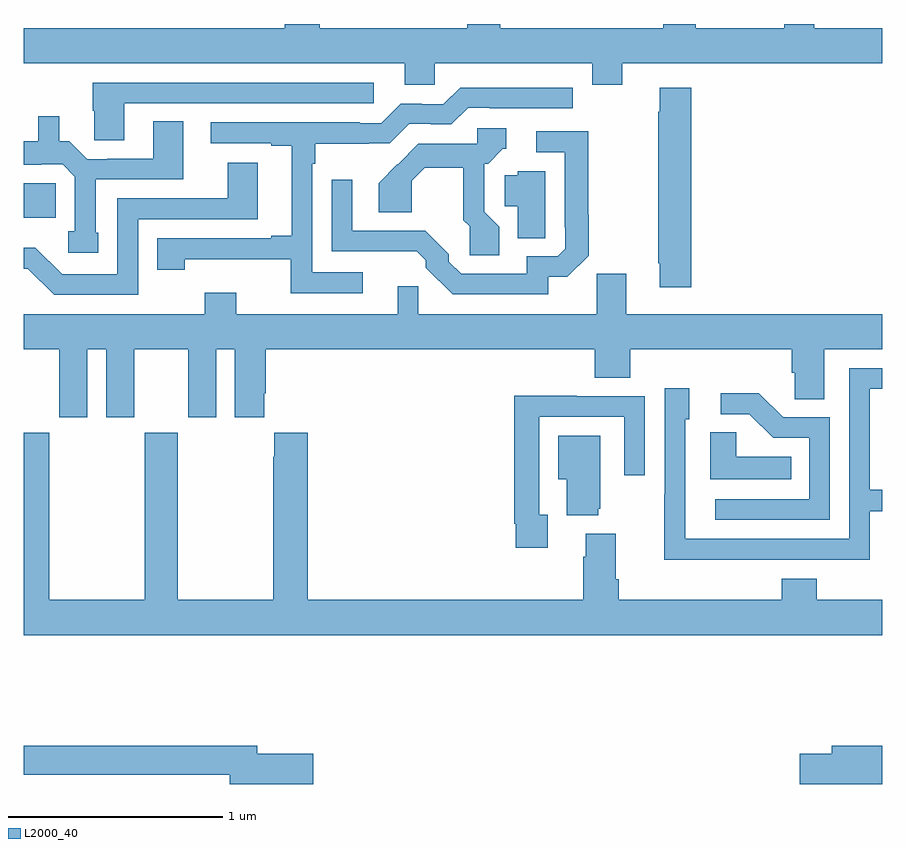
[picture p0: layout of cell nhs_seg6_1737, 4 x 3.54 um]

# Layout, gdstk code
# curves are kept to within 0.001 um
import gdstk
lib = gdstk.Library(unit=1e-6, precision=1e-09)
def P(c, l, *ps):  # polygons
    for p in ps: c.add(gdstk.Polygon(p, *l))
L2000_40 = (2000, 40)

nhs_seg6_1737 = lib.new_cell('nhs_seg6_1737')
P(nhs_seg6_1737, L2000_40, [(217.789,967.316),(219,967.316),(219,967.48),(218.683,967.48),(218.683,967.5),(218.543,967.5),(218.543,967.48),(218.131,967.48),(218.131,967.5),(217.979,967.5),(217.979,967.48),(217.22,967.48),(217.22,967.5),(217.067,967.5),(217.067,967.48),(216.38,967.48),(216.38,967.5),(216.215,967.5),(216.215,967.48),(215,967.48),(215,967.316),(216.776,967.316),(216.776,967.218),(216.915,967.218),(216.915,967.316),(217.649,967.316),(217.649,967.217),(217.789,967.217)],
  [(215.467,967.131),(216.631,967.131),(216.631,967.227),(215.32,967.227),(215.32,967.095),(215.329,967.095),(215.329,966.958),(215.467,966.958)],
  [(218.111,967.204),(217.964,967.204),(217.964,967.091),(217.957,967.091),(217.957,966.385),(217.964,966.385),(217.964,966.273),(218.111,966.273)],
  [(216.58,966.342),(216.345,966.342),(216.345,966.848),(216.358,966.848),(216.358,966.942),(216.608,966.942),(216.608,966.945),(216.705,966.945),(216.795,967.035),(216.896,967.035),(216.896,967.032),(216.993,967.032),(217.071,967.11),(217.171,967.11),(217.171,967.107),(217.558,967.107),(217.558,967.203),(217.033,967.204),(216.954,967.125),(216.854,967.125),(216.854,967.128),(216.756,967.128),(216.666,967.038),(216.566,967.038),(216.566,967.041),(215.871,967.041),(215.871,966.945),(216.152,966.945),(216.152,966.933),(216.248,966.933),(216.248,966.514),(216.152,966.514),(216.152,966.501),(215.622,966.501),(215.622,966.354),(215.75,966.354),(215.75,966.404),(216.244,966.404),(216.244,966.246),(216.58,966.246)],
  [(215.347,966.528),(215.334,966.528),(215.334,966.777),(215.743,966.777),(215.743,967.046),(215.603,967.046),(215.603,966.873),(215.389,966.873),(215.389,966.87),(215.295,966.87),(215.211,966.954),(215.164,966.954),(215.164,967.069),(215.066,967.069),(215.066,966.954),(215,966.954),(215,966.843),(215.081,966.843),(215.081,966.846),(215.181,966.846),(215.238,966.789),(215.238,966.534),(215.208,966.534),(215.208,966.435),(215.347,966.435)],
  [(217.216,966.554),(217.146,966.624),(217.146,966.849),(217.164,966.849),(217.233,966.918),(217.249,966.918),(217.249,967.014),(217.113,967.014),(217.113,966.942),(216.839,966.942),(216.742,966.845),(216.741,966.846),(216.654,966.758),(216.654,966.622),(216.808,966.622),(216.808,966.77),(216.869,966.831),(217.048,966.831),(217.048,966.586),(217.077,966.557),(217.077,966.423),(217.216,966.423)],
  [(217.443,966.321),(217.532,966.321),(217.632,966.42),(217.632,966.611),(217.63,966.611),(217.63,966.999),(217.389,966.999),(217.389,966.903),(217.521,966.903),(217.521,966.553),(217.524,966.553),(217.524,966.453),(217.488,966.417),(217.344,966.417),(217.344,966.336),(217.038,966.336),(216.981,966.393),(216.981,966.427),(216.871,966.537),(216.531,966.537),(216.531,966.775),(216.435,966.775),(216.435,966.441),(216.832,966.44),(216.873,966.4),(216.873,966.365),(216.998,966.24),(217.443,966.24)],
  [(215.532,966.591),(216.091,966.591),(216.091,966.853),(215.951,966.853),(215.951,966.687),(215.436,966.687),(215.436,966.333),(215.178,966.333),(215.054,966.457),(215,966.457),(215,966.36),(215.019,966.36),(215.142,966.237),(215.532,966.237)],
  [(217.431,966.814),(217.302,966.814),(217.302,966.795),(217.242,966.795),(217.242,966.65),(217.301,966.65),(217.301,966.502),(217.431,966.502)],
  [(215.039,966.597),(215.149,966.597),(215.149,966.758),(215,966.758),(215,966.596),(215.039,966.596)],
  [(215.296,965.984),(215.384,965.984),(215.384,965.667),(215.515,965.667),(215.515,965.984),(215.765,965.984),(215.765,965.667),(215.896,965.667),(215.896,965.984),(215.984,965.984),(215.984,965.667),(216.121,965.667),(216.121,965.779),(216.128,965.779),(216.128,965.984),(217.661,965.984),(217.661,965.851),(217.826,965.851),(217.826,965.984),(218.579,965.984),(218.579,965.875),(218.592,965.875),(218.592,965.752),(218.731,965.752),(218.731,965.984),(219,965.984),(219,966.148),(217.807,966.148),(217.807,966.336),(217.669,966.336),(217.669,966.148),(216.839,966.148),(216.839,966.278),(216.743,966.278),(216.743,966.148),(215.989,966.148),(215.989,966.247),(215.842,966.247),(215.842,966.148),(215,966.148),(215,965.984),(215.165,965.984),(215.165,965.667),(215.296,965.667)],
  [(218.447,965.004),(218.943,965.004),(218.943,965.229),(219,965.229),(219,965.33),(218.943,965.33),(218.943,965.799),(219,965.799),(219,965.895),(218.847,965.895),(218.847,965.1),(218.082,965.1),(218.082,965.658),(218.101,965.658),(218.101,965.803),(217.986,965.803),(217.986,965.309),(217.984,965.309),(217.984,965.003),(218.447,965.003)],
  [(218.757,965.667),(218.538,965.667),(218.425,965.78),(218.247,965.78),(218.247,965.682),(218.381,965.682),(218.492,965.571),(218.661,965.571),(218.661,965.286),(218.223,965.286),(218.223,965.19),(218.757,965.19)],
  [(217.441,965.214),(217.401,965.214),(217.401,965.67),(217.797,965.67),(217.797,965.397),(217.893,965.397),(217.893,965.766),(217.577,965.766),(217.577,965.768),(217.285,965.768),(217.285,965.17),(217.293,965.17),(217.293,965.058),(217.441,965.058)],
  [(218.576,965.482),(218.319,965.482),(218.319,965.597),(218.198,965.597),(218.198,965.378),(218.576,965.378)],
  [(219,964.816),(218.696,964.816),(218.696,964.915),(218.531,964.915),(218.531,964.816),(217.772,964.816),(217.772,964.912),(217.759,964.912),(217.759,965.125),(217.619,965.125),(217.619,965.018),(217.607,965.018),(217.607,964.816),(216.323,964.816),(216.323,965.596),(216.167,965.596),(216.167,965.483),(216.163,965.483),(216.163,964.816),(215.718,964.816),(215.718,965.596),(215.563,965.596),(215.563,964.816),(215.118,964.816),(215.118,965.596),(215,965.596),(215,964.652),(219,964.652)],
  [(217.676,965.241),(217.687,965.241),(217.687,965.581),(217.49,965.581),(217.49,965.378),(217.529,965.378),(217.529,965.21),(217.676,965.21)],
  [(219,964.136),(218.765,964.136),(218.765,964.1),(218.616,964.1),(218.616,963.958),(219,963.958)],
  [(216.349,964.1),(216.088,964.1),(216.088,964.136),(215,964.136),(215,964),(215.96,964),(215.96,963.958),(216.349,963.958)])

lib.write_gds('nhs_seg6_1737.gds')
